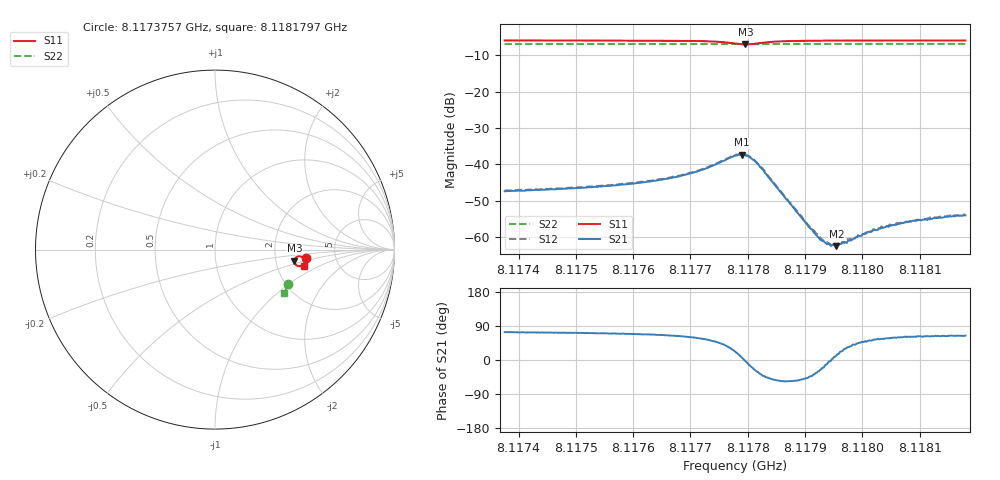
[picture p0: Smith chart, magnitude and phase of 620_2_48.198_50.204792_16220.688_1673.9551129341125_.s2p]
#  HZ  S  RI  R  50.00
! Rohde & Schwarz Vector Network Analyzer
! Rohde-Schwarz,ZNB20-2Port,1311601062101988,3.16
! Created: UTC 3/20/2024, 12:03:52 PM
! freq[Hz]  re:S11  im:S11  re:S21  im:S21  re:S12  im:S12  re:S22  im:S22
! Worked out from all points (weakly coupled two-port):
!   401 points, 8.1173757 GHz to 8.1181797 GHz, reference 50 ohm
!   highest |S21| = -37.31 dB at 8.1177898 GHz (marker M1); lowest = -62.5 dB at 8.1179546 GHz (marker M2)
!   lowest |S11| = -7.0 dB at 8.1177958 GHz (marker M3), VSWR 2.62, Z = 127 - j19.9 ohm
!   |S11| at or under -10 dB: nowhere
!   |S22| runs from -6.9 to -6.8 dB; largest |S21 - S12| = 0.00047
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8.11737568e9  0.505 -0.0441  0.00121 0.00408  0.00121 0.00417  0.409 -0.1933
8.11751036e9  0.5032 -0.0564  0.00154 0.00452  0.00159 0.00456  0.4052 -0.202
8.11758674e9  0.5013 -0.0646  0.00193 0.00495  0.00196 0.00505  0.4028 -0.2071
8.11764503e9  0.4988 -0.0719  0.00246 0.00556  0.00252 0.00569  0.401 -0.2108
8.11770935e9  0.4915 -0.0833  0.00408 0.0067  0.00419 0.00692  0.3986 -0.215
8.11777769e9  0.4525 -0.0863  0.0121 0.00506  0.0124 0.00498  0.395 -0.2187
8.11778975e9  0.4434 -0.0719  0.0135 0.0015  0.0139 0.00157  0.3945 -0.2187
8.11779578e9  0.4426 -0.0625  0.0134 -0.000649  0.0137 -0.000594  0.3943 -0.2186
8.11780784e9  0.4504 -0.0455  0.0111 -0.004  0.0114 -0.00433  0.3945 -0.2187
8.11782191e9  0.4668 -0.0374  0.00728 -0.00553  0.00754 -0.00558  0.3949 -0.2194
8.11785407e9  0.4897 -0.0448  0.00259 -0.00363  0.00268 -0.00376  0.3948 -0.2219
8.11791236e9  0.4988 -0.0611  0.000948 -0.000844  0.000961 -0.000857  0.3933 -0.2262
8.11792643e9  0.4993 -0.0638  0.00082 -0.0004  0.000873 -0.00047  0.3928 -0.227
8.11793648e9  0.4996 -0.0655  0.000799 -0.000173  0.000815 -0.000194  0.3925 -0.2277
8.11794452e9  0.4998 -0.0669  0.000754 -4.04e-05  0.000774 -2.05e-06  0.3923 -0.2282
8.11795457e9  0.4999 -0.0685  0.000731 0.000157  0.00076 0.000149  0.3919 -0.2288
8.11796663e9  0.4999 -0.0703  0.000746 0.00038  0.000762 0.000419  0.3913 -0.2298
8.11800884e9  0.4999 -0.0757  0.000745 0.000888  0.000774 0.000929  0.3901 -0.2325
8.11804703e9  0.4995 -0.08  0.000761 0.00119  0.000778 0.00126  0.3887 -0.2348
8.11808723e9  0.4993 -0.0841  0.000802 0.00147  0.000797 0.00147  0.3874 -0.2374
8.1181214e9  0.4986 -0.0874  0.000798 0.00158  0.00084 0.00168  0.3862 -0.2393
8.1181797e9  0.4979 -0.0926  0.000863 0.00179  0.000909 0.00183  0.384 -0.2431
